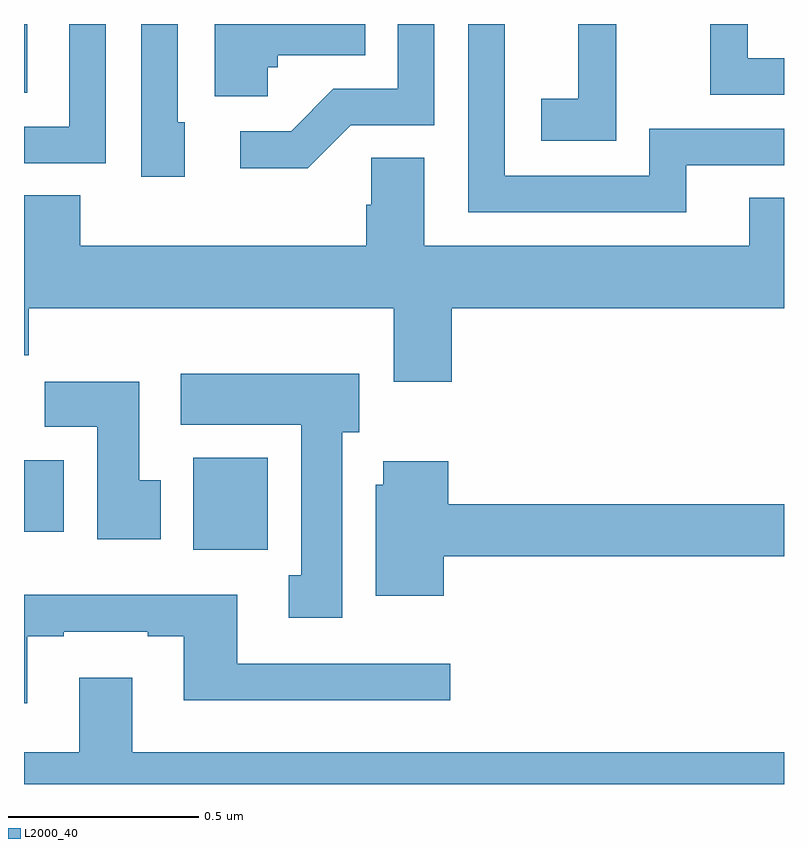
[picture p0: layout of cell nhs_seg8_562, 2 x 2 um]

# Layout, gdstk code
import gdstk
lib = gdstk.Library(unit=1e-6, precision=1e-09)
def R(c, l, rs):  # rectangles x0, y0, x1, y1
    for r in rs: c.add(gdstk.rectangle(r[:2], r[2:], *l))
def P(c, l, *ps):  # polygons
    for p in ps: c.add(gdstk.Polygon(p, *l))
L2000_40 = (2000, 40)

nhs_seg8_562 = lib.new_cell('nhs_seg8_562')
R(nhs_seg8_562, L2000_40, [(118.445,1130.516,118.642,1130.758), (118,1130.564,118.105,1130.752), (118,1131.719,118.009,1131.9)])
P(nhs_seg8_562, L2000_40, [(118.86,1131.633),(119.079,1131.633),(119.079,1131.9),(118.983,1131.9),(118.983,1131.729),(118.814,1131.729),(118.703,1131.618),(118.569,1131.618),(118.569,1131.521),(118.747,1131.521)],
  [(118.215,1131.9),(118.119,1131.9),(118.119,1131.63),(118,1131.63),(118,1131.534),(118.215,1131.534)],
  [(118.423,1131.642),(118.404,1131.642),(118.404,1131.9),(118.308,1131.9),(118.308,1131.498),(118.423,1131.498)],
  [(119.743,1131.528),(120,1131.528),(120,1131.624),(119.646,1131.624),(119.646,1131.501),(119.265,1131.501),(119.265,1131.9),(119.169,1131.9),(119.169,1131.405),(119.743,1131.405)],
  [(118.641,1131.786),(118.668,1131.786),(118.668,1131.818),(118.898,1131.818),(118.898,1131.9),(118.502,1131.9),(118.502,1131.71),(118.641,1131.71)],
  [(120,1131.81),(119.904,1131.81),(119.904,1131.9),(119.757,1131.9),(119.757,1131.899),(119.806,1131.899),(119.806,1131.714),(120,1131.714)],
  [(119.559,1131.799),(119.558,1131.799),(119.558,1131.9),(119.459,1131.9),(119.459,1131.703),(119.361,1131.703),(119.361,1131.593),(119.559,1131.593)],
  [(119.126,1131.152),(120,1131.152),(120,1131.443),(119.909,1131.443),(119.909,1131.316),(119.053,1131.316),(119.053,1131.548),(118.914,1131.548),(118.914,1131.425),(118.901,1131.425),(118.901,1131.316),(118.148,1131.316),(118.148,1131.449),(118,1131.449),(118,1131.028),(118.013,1131.028),(118.013,1131.152),(118.973,1131.152),(118.973,1130.958),(119.126,1130.958)],
  [(118.837,1130.826),(118.882,1130.826),(118.882,1130.98),(118.413,1130.98),(118.413,1130.846),(118.73,1130.846),(118.73,1130.45),(118.697,1130.45),(118.697,1130.337),(118.837,1130.337)],
  [(118.36,1130.7),(118.303,1130.7),(118.303,1130.959),(118.054,1130.959),(118.054,1130.84),(118.193,1130.84),(118.193,1130.544),(118.36,1130.544)],
  [(119.104,1130.5),(120,1130.5),(120,1130.636),(119.117,1130.636),(119.117,1130.749),(118.946,1130.749),(118.946,1130.688),(118.925,1130.688),(118.925,1130.396),(119.104,1130.396)],
  [(118.009,1130.289),(118.105,1130.289),(118.105,1130.301),(118.325,1130.301),(118.325,1130.289),(118.421,1130.289),(118.421,1130.12),(119.122,1130.12),(119.122,1130.217),(118.561,1130.217),(118.561,1130.398),(118,1130.398),(118,1130.112),(118.009,1130.112)],
  [(120,1129.984),(118.285,1129.984),(118.285,1130.179),(118.145,1130.179),(118.145,1129.984),(118,1129.984),(118,1129.9),(120,1129.9)])

lib.write_gds('nhs_seg8_562.gds')
